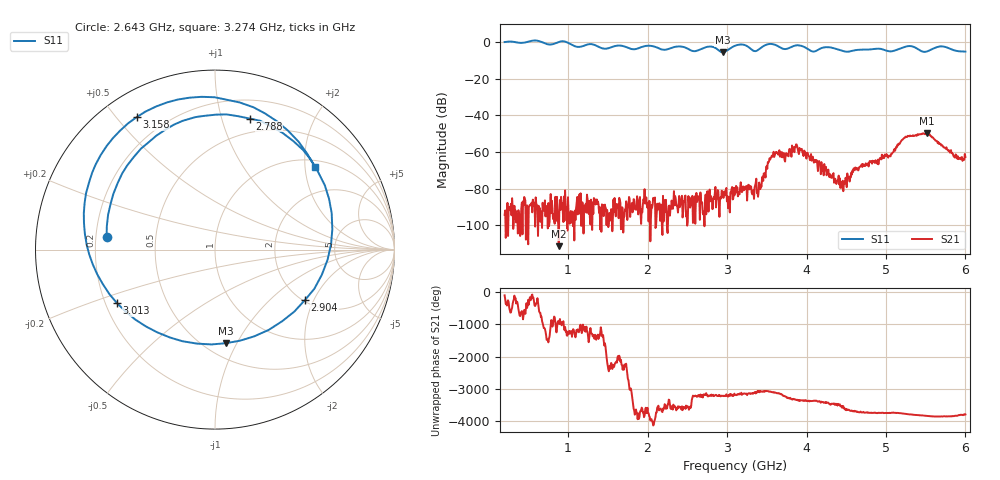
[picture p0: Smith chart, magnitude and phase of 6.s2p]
! NanoVNA-App
! Date: 2024-06-25 16:14:23
! Start: 200MHz Stop: 6GHz Points: 801
! S-Parameter data: F S11 S21 S12 S22
# Hz S RI R 50
!  Frequency  S11_Real  S11_Imag  S21_Real  S21_Imag  S12_Real  S12_Imag  S22_Real  S22_Imag
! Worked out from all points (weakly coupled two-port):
!   801 points, 200 MHz to 6 GHz, reference 50 ohm
!   highest |S21| = -49.70 dB at 5.514 GHz (marker M1); lowest = -111.4 dB at 881.5 MHz (marker M2)
!   lowest |S11| = -5.6 dB at 2.948 GHz (marker M3), VSWR 3.21, Z = 31.3 - j45.1 ohm
!   |S11| at or under -10 dB: nowhere
!   S12 and S22 are empty: the file has one direction only
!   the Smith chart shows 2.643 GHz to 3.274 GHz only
!   S11 on the Smith chart (normalised r, x): 2.643 GHz: 0.24, +0.05; 2.788 GHz: 0.36, +1.23; 2.904 GHz: 2.05, -1.72; 3.013 GHz: 0.25, -0.24; 3.158 GHz: 0.10, +0.57; 3.274 GHz: 1.18, +2.26
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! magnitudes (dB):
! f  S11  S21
! 200 MHz  0.0  -94.3
! 881.5 MHz  0.1  -111.4
! 1.171 GHz  -2.4  -95.9
! 2.136 GHz  -3.2  -89.4
! 2.643 GHz  -4.3  -84.2
! 2.788 GHz  -2.4  -86.9
! 2.904 GHz  -4.8  -95.4
! 2.948 GHz  -5.6  -82.9
! 3.013 GHz  -4.1  -90.7
! 3.1 GHz  -2.0  -81.6
! 3.158 GHz  -1.3  -83.0
! 3.274 GHz  -2.8  -78.0
! 3.405 GHz  -3.8  -76.7
! 3.607 GHz  -1.5  -61.0
! 3.861 GHz  -1.8  -57.4
! 4.072 GHz  -5.0  -63.8
! 4.456 GHz  -4.8  -75.7
! 4.608 GHz  -4.4  -69.9
! 5.036 GHz  -5.0  -62.0
! 5.246 GHz  -2.5  -51.6
! 5.514 GHz  -5.1  -49.7
! 6 GHz  -5.2  -62.7
